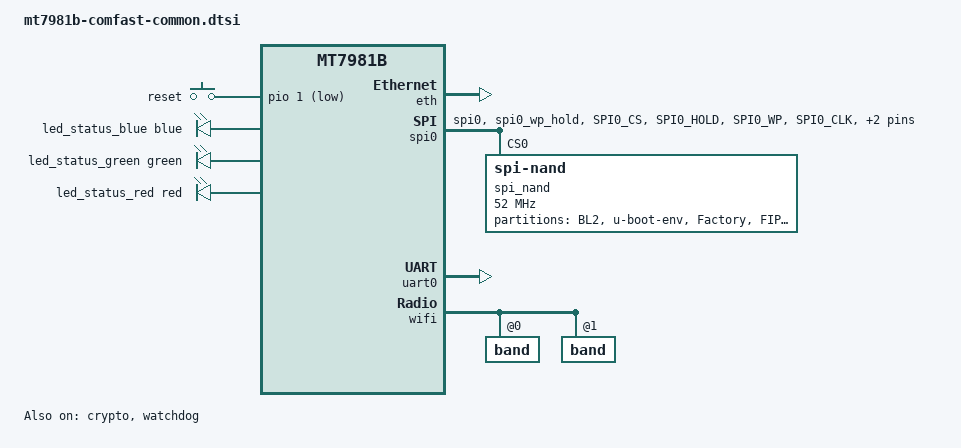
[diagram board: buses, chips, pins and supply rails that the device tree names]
// SPDX-License-Identifier: GPL-2.0-or-later OR MIT

#include "mt7981b.dtsi"

/ {
	aliases {
		label-mac-device = &gmac0;
		serial0 = &uart0;
	};

	chosen: chosen {
		bootargs-override = "console=ttyS0,115200n8";
		stdout-path = "serial0:115200n8";
	};

	gpio_keys: gpio-keys {
		compatible = "gpio-keys";

		key_reset: reset {
			label = "reset";
			linux,code = <KEY_RESTART>;
			gpios = <&pio 1 GPIO_ACTIVE_LOW>;
		};
	};

	leds {
		compatible = "gpio-leds";

		led_status_blue: blue {
			color = <LED_COLOR_ID_BLUE>;
			function = LED_FUNCTION_STATUS;
		};

		led_status_green: green {
			color = <LED_COLOR_ID_GREEN>;
			function = LED_FUNCTION_STATUS;
		};

		led_status_red: red {
			color = <LED_COLOR_ID_RED>;
			function = LED_FUNCTION_STATUS;
		};
	};
};

&crypto {
	status = "okay";
};

&eth {
	status = "okay";

	gmac0: mac@0 {
		compatible = "mediatek,eth-mac";
		reg = <0>;
		phy-mode = "2500base-x";
		nvmem-cells = <&macaddr_factory_e000 0>;
		nvmem-cell-names = "mac-address";
	};
};

&pio {
	spi0_flash_pins: spi0-pins {
		mux {
			function = "spi";
			groups = "spi0", "spi0_wp_hold";
		};

		conf-pu {
			pins = "SPI0_CS", "SPI0_HOLD", "SPI0_WP";
			drive-strength = <MTK_DRIVE_4mA>;
			bias-pull-up = <MTK_PUPD_SET_R1R0_11>;
		};

		conf-pd {
			pins = "SPI0_CLK", "SPI0_MOSI", "SPI0_MISO";
			drive-strength = <MTK_DRIVE_4mA>;
			bias-pull-down = <MTK_PUPD_SET_R1R0_11>;
		};
	};
};

&spi0 {
	pinctrl-names = "default";
	pinctrl-0 = <&spi0_flash_pins>;
	status = "okay";

	spi_nand: spi-nand@0 {
		compatible = "spi-nand";
		reg = <0>;
		spi-max-frequency = <52000000>;

		spi-cal-enable;
		spi-cal-mode = "read-data";
		spi-cal-datalen = <7>;
		spi-cal-data = /bits/ 8 <0x53 0x50 0x49 0x4E 0x41 0x4E 0x44>;
		spi-cal-addrlen = <5>;
		spi-cal-addr = /bits/ 32 <0x0 0x0 0x0 0x0 0x0>;

		spi-tx-bus-width = <4>;
		spi-rx-bus-width = <4>;

		mediatek,nmbm;
		mediatek,bmt-max-ratio = <1>;
		mediatek,bmt-max-reserved-blocks = <64>;

		partitions {
			compatible = "fixed-partitions";
			#address-cells = <1>;
			#size-cells = <1>;

			partition@0 {
				label = "BL2";
				reg = <0x00000 0x0100000>;
				read-only;
			};

			partition@100000 {
				label = "u-boot-env";
				reg = <0x0100000 0x0080000>;
				read-only;
			};

			factory: partition@180000 {
				label = "Factory";
				reg = <0x180000 0x0200000>;
				read-only;

				nvmem-layout {
					compatible = "fixed-layout";
					#address-cells = <1>;
					#size-cells = <1>;

					eeprom_factory_0: eeprom@0 {
						reg = <0x0 0x1000>;
					};

					macaddr_factory_e000: macaddr@e000 {
						compatible = "mac-base";
						reg = <0xe000 0x6>;
						#nvmem-cell-cells = <1>;
					};

					macaddr_factory_4: macaddr@4 {
						compatible = "mac-base";
						reg = <0x4 0x6>;
						#nvmem-cell-cells = <1>;
					};

					macaddr_factory_8000: macaddr@8000 {
						compatible = "mac-base";
						reg = <0x8000 0x6>;
						#nvmem-cell-cells = <1>;
					};
				};
			};

			partition@380000 {
				label = "FIP";
				reg = <0x380000 0x0200000>;
				read-only;
			};

			ubi: partition@580000 {
				label = "ubi";
				reg = <0x580000 0x4000000>;
				compatible = "linux,ubi";
			};
		};
	};
};

&uart0 {
	status = "okay";
};

&watchdog {
	status = "okay";
};

&wifi {
	#address-cells = <1>;
	#size-cells = <0>;
	nvmem-cells = <&eeprom_factory_0>;
	nvmem-cell-names = "eeprom";
	status = "okay";

	band@0 {
		reg = <0>;
		nvmem-cells = <&macaddr_factory_4 0>;
		nvmem-cell-names = "mac-address";
	};

	band@1 {
		reg = <1>;
		nvmem-cells = <&macaddr_factory_8000 0>;
		nvmem-cell-names = "mac-address";
	};
};
